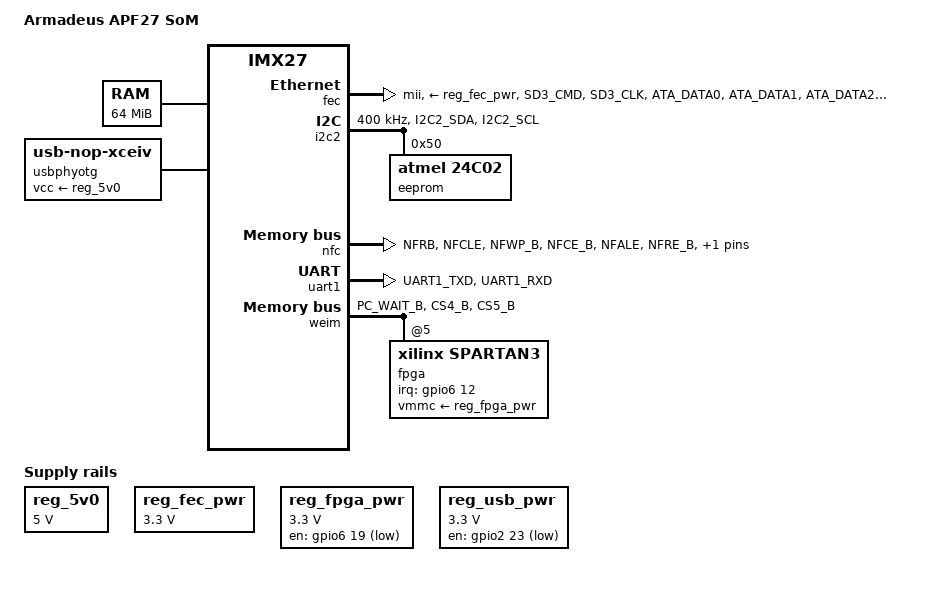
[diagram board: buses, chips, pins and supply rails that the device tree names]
/*
 * Copyright 2013 Armadeus Systems - <support@armadeus.com>
 * Copyright 2016 Julien Corjon <corjon.j@ecagroup.com>
 *
 * The code contained herein is licensed under the GNU General Public
 * License. You may obtain a copy of the GNU General Public License
 * Version 2 or later at the following locations:
 *
 * http://www.opensource.org/licenses/gpl-license.html
 * http://www.gnu.org/copyleft/gpl.html
 */
#include "imx27.dtsi"
#include <dt-bindings/gpio/gpio.h>

/ {
	model = "Armadeus APF27 SoM";
	compatible = "armadeus,imx27-apf27", "fsl,imx27";

	chosen {
                bootargs = "console=ttymxc0,115200 ubi.mtd=rootfs root=ubi0:rootfs rootfstype=ubifs";
		stdout-path = &uart1;
        };

	clocks {
		osc26m {
			clock-frequency = <0>;	/* Override osc26m as we are not sure to have an external 26mHz clock */
		};
	};

	memory {
		reg = <0xa0000000 0x04000000>; /* 64MB - replace with 0x08000000 for 128MB */
	};

	regulators {
		compatible = "simple-bus";

		reg_5v0: regulator@1 {
			compatible = "regulator-fixed";
			reg = <1>;
			regulator-name = "5V0";
			regulator-min-microvolt = <5000000>;
			regulator-max-microvolt = <5000000>;
		};

		reg_fec_pwr: fec_pwr {
			compatible = "regulator-fixed";
			reg = <0>;
			regulator-name = "fec_pwr";
			regulator-min-microvolt = <3300000>;
			regulator-max-microvolt = <3300000>;
		};

		reg_fpga_pwr: fpga_pwr {
			compatible = "regulator-fixed";
			pinctrl-names = "default";
			pinctrl-0 = <&pinctrl_fpga_pwr>;
			regulator-name = "fpga_pwr";
			regulator-min-microvolt = <3300000>;
			regulator-max-microvolt = <3300000>;
			gpio = <&gpio6 19 GPIO_ACTIVE_HIGH>;
			regulator-always-on;
		};

		reg_usb_pwr: usb_pwr {
			compatible = "regulator-fixed";
			pinctrl-names = "default";
			pinctrl-0 = <&pinctrl_usb_pwr>;
			regulator-name = "usb_pwr";
			regulator-min-microvolt = <3300000>;
			regulator-max-microvolt = <3300000>;
			gpio = <&gpio2 23 GPIO_ACTIVE_HIGH>;
			regulator-always-on;
		};
        };

	usbphy {
		compatible = "simple-bus";

		/* Due to the lack of device-tree support for ISP1504 (phy-ulpi)
		 * We set up an usb-nop-xceiv to let the imx driver go on */
		usbphyotg: usbphy@0 {
			compatible = "usb-nop-xceiv";
			reg = <0>;
			vcc-supply = <&reg_5v0>;
			clocks = <&clks IMX27_CLK_DUMMY>;
			clock-names = "main_clk";
		};
	};
};

//&csi {
//	pinctrl-names = "default";
//	pinctrl-0 = <&pinctrl_csi>;
//	status = "disabled";
//};

&cspi1 {
	pinctrl-names = "default";
	pinctrl-0 = <&pinctrl_cspi1 &pinctrl_cspi1_cs>;
	fsl,spi-num-chipselects = <2>;
	cs-gpios = <&gpio4 28 GPIO_ACTIVE_HIGH>,			/* SPI1_SS0 - J1 Pin 11 */
		   <&gpio4 26 GPIO_ACTIVE_HIGH>;			/* SPI1_SS2 - J1 Pin 12 */
	status = "disabled";
};

&cspi2 {
	pinctrl-names = "default";
	pinctrl-0 = <&pinctrl_cspi2 &pinctrl_cspi2_cs>;
	fsl,spi-num-chipselects = <3>;
	cs-gpios = <&gpio4 21 GPIO_ACTIVE_HIGH>,			/* SPI2_SS0 - J1 Pin 8 */
		   <&gpio4 20 GPIO_ACTIVE_HIGH>,			/* SPI2_SS1 - J1 Pin 9 */
		   <&gpio4 19 GPIO_ACTIVE_HIGH>;			/* SPI2_SS2 - J1 Pin 10 */
	status = "disabled";
};

&fb {
	pinctrl-names = "default";
	pinctrl-0 = <&pinctrl_imxfb>;
	display = <&display>;
	status = "disabled";
};

&fec {
	pinctrl-names = "default";
	pinctrl-0 = <&pinctrl_fec>;
	phy-mode= "mii";
	phy-supply = <&reg_fec_pwr>;
	status = "okay";
};

&i2c1{
	pinctrl-names = "default";
	pinctrl-0 = <&pinctrl_i2c1>;
	status = "disabled";
};

&i2c2{
	pinctrl-names = "default";
	pinctrl-0 = <&pinctrl_i2c2>;
	clock-frequency = <400000>;
	status = "okay";

	eeprom@50 {
		compatible = "atmel,24c02";
		reg = <0x50>;
		pagesize = <8>;
	};
};

&iomuxc {
	imx27-apf27 {
		pinctrl_csi: csigrp {
			fsl,pins = <
				MX27_PAD_CSI_D6__CSI_D6			0x0 /* CSI_D6_UART5_TXD_2V5 - J1 Pin 38 */
				MX27_PAD_CSI_D7__CSI_D7			0x0 /* CSI_D7_UART5_RXD_2V5 - J1 Pin 39 */
				MX27_PAD_CSI_VSYNC__CSI_VSYNC		0x0 /* CSI_VSYNC_UART5_CTS_2V5 - J1 Pin 40 */
				MX27_PAD_CSI_HSYNC__CSI_HSYNC		0x0 /* CSI_HSYNC_UART5_RTS_2V5 - J1 Pin 41 */
				MX27_PAD_CSI_MCLK__CSI_MCLK		0x0 /* CSI_MCLK_2V5 - J1 Pin 42 */
				MX27_PAD_CSI_PIXCLK__CSI_PIXCLK		0x0 /* CSI_PIXCLK_2V5 - J1 Pin 43 */
				MX27_PAD_CSI_D5__CSI_D5			0x0 /* CSI_D2_UART6_CTS_2V5 - J1 Pin 83 */
				MX27_PAD_CSI_D4__CSI_D4			0x0 /* CSI_D5_2V5 - J1 Pin 80 */
				MX27_PAD_CSI_D3__CSI_D3			0x0 /* CSI_D3_UART6_RTS_2V5 - J1 Pin 82 */
				MX27_PAD_CSI_D2__CSI_D2			0x0 /* CSI_D1_UART6_RXD_2V5 - J1 Pin 84 */
				MX27_PAD_CSI_D1__CSI_D1			0x0 /* CSI_D0_UART6_TXD_2V5 - J1 Pin 85 */
				MX27_PAD_CSI_D0__CSI_D0			0x0 /* CSI_D4_2V5 - J1 Pin 81 */
			>;
		};

		pinctrl_cspi1: cspi1grp {
			fsl,pins = <
				MX27_PAD_CSPI1_SCLK__CSPI1_SCLK		0x0 /* SPI1_SCLK - Pin 109 */
				MX27_PAD_CSPI1_MISO__CSPI1_MISO		0x0 /* SPI1_MISO - Pin 110 */
				MX27_PAD_CSPI1_MOSI__CSPI1_MOSI		0x0 /* SPI1_MOSI - Pin 111 */
			>;
		};

		pinctrl_cspi1_cs: cspi1csgrp {
			fsl,pins = <
				MX27_PAD_CSPI1_SS0__GPIO4_28		0x0 /* SPI1_SS0 - J1 Pin 11 */
				MX27_PAD_CSPI1_SS2__GPIO4_26		0x0 /* SPI1_SS2 - J1 Pin 12 */
			>;
		};

		pinctrl_cspi2: cspi2grp {
			fsl,pins = <
				MX27_PAD_CSPI2_MOSI__CSPI2_MOSI		0x0 /* SPI2_MOSI - J1 Pin 112 */
				MX27_PAD_CSPI2_MISO__CSPI2_MISO		0x0 /* SPI2_MISO - J1 Pin 113 */
				MX27_PAD_CSPI2_SCLK__CSPI2_SCLK		0x0 /* SPI2_SCLK - J1 Pin 114 */
			>;
		};

		pinctrl_cspi2_cs: cspi2csgrp {
			fsl,pins = <
				MX27_PAD_CSPI2_SS0__GPIO4_21		0x0 /* SPI2_SS0 - J1 Pin 8 */
				MX27_PAD_CSPI2_SS1__GPIO4_20		0x0 /* SPI2_SS1 - J1 Pin 9 */
				MX27_PAD_CSPI2_SS2__GPIO4_19		0x0 /* SPI2_SS2 - J1 Pin 10 */
			>;
		};

		pinctrl_fec: fecgrp {
			fsl,pins = <
				MX27_PAD_SD3_CMD__FEC_TXD0 		0x0
				MX27_PAD_SD3_CLK__FEC_TXD1 		0x0
				MX27_PAD_ATA_DATA0__FEC_TXD2 		0x0
				MX27_PAD_ATA_DATA1__FEC_TXD3 		0x0
				MX27_PAD_ATA_DATA2__FEC_RX_ER 		0x0
				MX27_PAD_ATA_DATA3__FEC_RXD1 		0x0
				MX27_PAD_ATA_DATA4__FEC_RXD2 		0x0
				MX27_PAD_ATA_DATA5__FEC_RXD3 		0x0
				MX27_PAD_ATA_DATA6__FEC_MDIO 		0x0
				MX27_PAD_ATA_DATA7__FEC_MDC 		0x0
				MX27_PAD_ATA_DATA8__FEC_CRS 		0x0
				MX27_PAD_ATA_DATA9__FEC_TX_CLK 		0x0
				MX27_PAD_ATA_DATA10__FEC_RXD0 		0x0
				MX27_PAD_ATA_DATA11__FEC_RX_DV 		0x0
				MX27_PAD_ATA_DATA12__FEC_RX_CLK 	0x0
				MX27_PAD_ATA_DATA13__FEC_COL 		0x0
				MX27_PAD_ATA_DATA14__FEC_TX_ER 		0x0
				MX27_PAD_ATA_DATA15__FEC_TX_EN 		0x0
			>;
		};

		pinctrl_fpga: fpgagrp {
			fsl,pins = <
				MX27_PAD_PC_BVD2__GPIO6_11		0x0 /* FPGA_PRG */
				MX27_PAD_CLKO__CLKO			0x0 /* CLK0 */
				MX27_PAD_PC_BVD1__GPIO6_12		0x0 /* FPGA_INIT_B */
				MX27_PAD_IOIS16__GPIO6_9		0x0 /* FPGA_DONE */
				MX27_PAD_PC_RST__GPIO6_10		0x0 /* FPGA_SUSPEND */
				MX27_PAD_PC_POE__GPIO6_7		0x0 /* FPGA_RESET */
				MX27_PAD_CSPI1_RDY__GPIO4_25		0x0 /* DMA_REQ_B */
				MX27_PAD_CSPI1_SS1__GPIO4_27		0x0 /* DMA_GRANT_B */
			>;
		};

		pinctrl_fpga_pwr: fpgapwrgrp {
			fsl,pins = <
				MX27_PAD_PC_CD2_B__GPIO6_19		0x0 /* FPGA_SUPPLY_OFF */
			>;
		};

		pinctrl_imxfb: imxfbgrp {
			fsl,pins = <
				MX27_PAD_LD0__LD0			0x0 /* B0 - J1 Pin 66 */
				MX27_PAD_LD1__LD1			0x0 /* B1 - J1 Pin 65 */
				MX27_PAD_LD2__LD2			0x0 /* B2 - J1 Pin 64 */
				MX27_PAD_LD3__LD3			0x0 /* B3 - J1 Pin 63 */
				MX27_PAD_LD4__LD4			0x0 /* B4 - J1 Pin 62 */
				MX27_PAD_LD5__LD5			0x0 /* B5 - J1 Pin 61 */
				MX27_PAD_LD6__LD6			0x0 /* G0 - J1 Pin 72 */
				MX27_PAD_LD7__LD7			0x0 /* G1 - J1 Pin 71 */
				MX27_PAD_LD8__LD8			0x0 /* G2 - J1 Pin 70 */
				MX27_PAD_LD9__LD9			0x0 /* G3 - J1 Pin 69 */
				MX27_PAD_LD10__LD10			0x0 /* G4 - J1 Pin 68 */
				MX27_PAD_LD11__LD11			0x0 /* G5 - J1 Pin 67 */
				MX27_PAD_LD12__LD12			0x0 /* R0 - J1 Pin 78 */
				MX27_PAD_LD13__LD13			0x0 /* R1 - J1 Pin 77 */
				MX27_PAD_LD14__LD14			0x0 /* R2 - J1 Pin 76 */
				MX27_PAD_LD15__LD15			0x0 /* R3 - J1 Pin 75 */
				MX27_PAD_LD16__LD16			0x0 /* R4 - J1 Pin 74 */
				MX27_PAD_LD17__LD17			0x0 /* R5 - J1 Pin 73 */
				MX27_PAD_LSCLK__LSCLK			0x0 /* LCD_CLK_IN - J1 Pin 59 */
				MX27_PAD_OE_ACD__OE_ACD			0x0 /* OE_ACD - J1 Pin 58 */
				MX27_PAD_HSYNC__HSYNC			0x0 /* LCD_HSYNC - J1 Pin 55 */
				MX27_PAD_VSYNC__VSYNC			0x0 /* LCD_VSYNC - J1 Pin 56 */
				MX27_PAD_CONTRAST__CONTRAST		0x0
				MX27_PAD_PS__PS				0x0
				MX27_PAD_SPL_SPR__SPL_SPR		0x0
				MX27_PAD_REV__REV			0x0
				MX27_PAD_CLS__CLS 			0x0
			>;
		};

		pinctrl_i2c1: i2c1grp {
			fsl,pins = <
				MX27_PAD_I2C_DATA__I2C_DATA		0x0 /* I2C1_SDA - J1 Pin 104 */
				MX27_PAD_I2C_CLK__I2C_CLK		0x0 /* I2C1_SCK - J1 Pin 105 */
			>;
		};

		pinctrl_i2c2: i2c2grp {
			fsl,pins = <
				MX27_PAD_I2C2_SDA__I2C2_SDA		0x0 /* I2C2_SDA - J1 Pin 107 */
				MX27_PAD_I2C2_SCL__I2C2_SCL		0x0 /* I2C2_SCK - J1 Pin 108 */
			>;
		};

		pinctrl_nand: nandgrp {
			fsl,pins = <
				MX27_PAD_NFRB__NFRB			0x0
				MX27_PAD_NFCLE__NFCLE			0x0
				MX27_PAD_NFWP_B__NFWP_B			0x0
				MX27_PAD_NFCE_B__NFCE_B			0x0
				MX27_PAD_NFALE__NFALE			0x0
				MX27_PAD_NFRE_B__NFRE_B			0x0
				MX27_PAD_NFWE_B__NFWE_B			0x0
			>;
		};

		pinctrl_owire: owiregrp {
			fsl,pins = <
				MX27_PAD_RTCK__OWIRE			0x0 /* RTCK_OWIRE_2V8 - J1 Pin 106 */
			>;
		};

		pinctrl_pwm: pwmgrp {
			fsl,pins = <
				MX27_PAD_PWMO__PWMO 			0x0
			>;
		};

		pinctrl_sdhc1: sdhc1grp {
			fsl,pins = <
				MX27_PAD_SD1_CLK__SD1_CLK		0x0 /* SD1_CLK - J1 Pin 21 */
				MX27_PAD_SD1_CMD__SD1_CMD		0x0 /* SD1_CMD - J1 Pin 20 */
				MX27_PAD_SD1_D0__SD1_D0			0x0 /* SD1_D0 - J1 Pin 16 */
				MX27_PAD_SD1_D1__SD1_D1			0x0 /* SD1_D1 - J1 Pin 17 */
				MX27_PAD_SD1_D2__SD1_D2			0x0 /* SD1_D2 - J1 Pin 18 */
				MX27_PAD_SD1_D3__SD1_D3			0x0 /* SD1_D3 - J1 Pin 19 */
			>;
		};

		pinctrl_sdhc2: sdhc2grp {
			fsl,pins = <
				MX27_PAD_SD2_CLK__SD2_CLK		0x0 /* SD2_CLK_2V5 - J1 Pin 49 */
				MX27_PAD_SD2_CMD__SD2_CMD		0x0 /* SD2_CMD_2V5 - J1 Pin 48 */
				MX27_PAD_SD2_D0__SD2_D0			0x0 /* SD2_D0_2V5 - J1 Pin 44 */
				MX27_PAD_SD2_D1__SD2_D1			0x0 /* SD2_D1_2V5 - J1 Pin 45 */
				MX27_PAD_SD2_D2__SD2_D2			0x0 /* SD2_D2_2V5 - J1 Pin 46 */
				MX27_PAD_SD2_D3__SD2_D3			0x0 /* SD2_D3_2V5 - J1 Pin 47 */
			>;
		};

		pinctrl_ssi1: ssi1grp {
			fsl,pins = <
				MX27_PAD_SSI1_FS__SSI1_FS		0x0
				MX27_PAD_SSI1_RXDAT__SSI1_RXDAT		0x0
				MX27_PAD_SSI1_TXDAT__SSI1_TXDAT		0x0
				MX27_PAD_SSI1_CLK__SSI1_CLK		0x0
			>;
		};

		pinctrl_ssi2: ssi2grp {
			fsl,pins = <
				MX27_PAD_SSI2_FS__SSI2_FS		0x0
				MX27_PAD_SSI2_RXDAT__SSI2_RXDAT		0x0
				MX27_PAD_SSI2_TXDAT__SSI2_TXDAT		0x0
				MX27_PAD_SSI2_CLK__SSI2_CLK		0x0
			>;
		};

		pinctrl_ssi3: ssi3grp {
			fsl,pins = <
				MX27_PAD_SSI3_FS__SSI3_FS		0x0
				MX27_PAD_SSI3_RXDAT__SSI3_RXDAT		0x0
				MX27_PAD_SSI3_TXDAT__SSI3_TXDAT		0x0
				MX27_PAD_SSI3_CLK__SSI3_CLK		0x0
			>;
		};

		pinctrl_uart1: uart1grp {
			fsl,pins = <
				MX27_PAD_UART1_TXD__UART1_TXD 		0x0
				MX27_PAD_UART1_RXD__UART1_RXD 		0x0
			>;
		};

		pinctrl_uart2: uart2grp {
			fsl,pins = <
				MX27_PAD_UART2_TXD__UART2_TXD 		0x0
				MX27_PAD_UART2_RXD__UART2_RXD 		0x0
				MX27_PAD_UART2_CTS__UART2_CTS		0x0
				MX27_PAD_UART2_RTS__UART2_RTS		0x0
			>;
		};

		pinctrl_uart3: uart3grp {
			fsl,pins = <
				MX27_PAD_UART3_TXD__UART3_TXD		0x0 /* RS232_TX3 - J2 Pin 105 */
				MX27_PAD_UART3_RXD__UART3_RXD		0x0 /* RS232_RX3 - J2 Pin 104 */
				MX27_PAD_UART3_CTS__UART3_CTS		0x0 /* RS232_CTS_3 - J1 Pin 24 */
				MX27_PAD_UART3_RTS__UART3_RTS		0x0 /* RS232_RTS_3 - J1 Pin 25 */
			>;
		};

		pinctrl_usbh1: usbh1grp {
			fsl,pins = <
				MX27_PAD_USBH1_OE_B__USBH1_OE_B		0x0 /* USB1_OEN - J1 Pin 118 */
				MX27_PAD_USBH1_RCV__USBH1_RCV		0x0 /* USB1_RCV - J1 Pin 119 */
				MX27_PAD_USBH1_SUSP__USBH1_SUSP		0x0 /* USB1_SUSPEND - J1 Pin 3 */
				MX27_PAD_USBH1_TXDP__USBH1_TXDP		0x0 /* USB1_TXDP - J1 Pin 117 */
				MX27_PAD_USBH1_RXDP__USBH1_RXDP		0x0 /* USB1_RXDP - J1 Pin 116 */
				MX27_PAD_USBH1_TXDM__USBH1_TXDM		0x0 /* USB1_TXDN - J1 Pin 6 */
				MX27_PAD_USBH1_RXDM__USBH1_RXDM		0x0 /* USB1_RXDN - J1 Pin 7 */
				MX27_PAD_USBH1_FS__USBH1_FS		0x0 /* USB1_FS - J1 Pin 5 */
			>;
		};

		pinctrl_usb_pwr: usb-pwr {
			fsl,pins = <
				MX27_PAD_USB_PWR__USB_PWR		0x0 /* USB1_PWR - J1 Pin 4 */
			>;
		};

		pinctrl_usbh2: usbh2grp {
			fsl,pins = <
				MX27_PAD_USBH2_CLK__USBH2_CLK		0x0
				MX27_PAD_USBH2_DIR__USBH2_DIR		0x0
				MX27_PAD_USBH2_DATA7__USBH2_DATA7	0x0
				MX27_PAD_USBH2_NXT__USBH2_NXT		0x0
				MX27_PAD_USBH2_STP__USBH2_STP		0x0
			>;
		};

		pinctrl_usbotg: usbotggrp {
			fsl,pins = <
				MX27_PAD_USBOTG_CLK__USBOTG_CLK		0x0
				MX27_PAD_USBOTG_DIR__USBOTG_DIR		0x0
				MX27_PAD_USBOTG_NXT__USBOTG_NXT		0x0
				MX27_PAD_USBOTG_STP__USBOTG_STP		0x0
				MX27_PAD_USBOTG_DATA0__USBOTG_DATA0	0x0
				MX27_PAD_USBOTG_DATA1__USBOTG_DATA1	0x0
				MX27_PAD_USBOTG_DATA2__USBOTG_DATA2	0x0
				MX27_PAD_USBOTG_DATA3__USBOTG_DATA3	0x0
				MX27_PAD_USBOTG_DATA4__USBOTG_DATA4	0x0
				MX27_PAD_USBOTG_DATA5__USBOTG_DATA5	0x0
				MX27_PAD_USBOTG_DATA6__USBOTG_DATA6	0x0
				MX27_PAD_USBOTG_DATA7__USBOTG_DATA7	0x0
			>;
		};

		pinctrl_weim: weimgrp {
			fsl,pins = <
				MX27_PAD_PC_WAIT_B__ATA_CS1		0x0
				MX27_PAD_CS4_B__CS4_B			0x0
				MX27_PAD_CS5_B__CS5_B			0x0
//				EB0					0x0
//				EB1					0x0
//				OE					0x0
			>;
		};
	};
};

&kpp {
	status = "disabled";
};

&nfc {
	pinctrl-names = "default";
	pinctrl-0 = <&pinctrl_nand>;
	nand-ecc-mode = "hw";
	nand-on-flash-bbt;
	nand-bus-width = <16>;
	status = "okay";

	partition@0 {
		label = "u-boot";
		reg = <0x0 0x100000>;
	};

	partition@100000 {
		label = "env";
		reg = <0x100000 0x80000>;
	};

	partition@180000 {
		label = "env2";
		reg = <0x180000 0x80000>;
	};

	partition@200000 {
		label = "firmware";
		reg = <0x200000 0x80000>;
	};

	partition@280000 {
		label = "dtb";
		reg = <0x280000 0x80000>;
	};

	partition@300000 {
		label = "kernel";
		reg = <0x300000 0x500000>;
	};

	partition@800000 {
		label = "rootfs";
		reg = <0x800000 0xf800000>;
	};
};

&owire{
	pinctrl-names = "default";
	pinctrl-0 = <&pinctrl_owire>;
	status = "disabled";
};

&pwm {
	pinctrl-names = "default";
	pinctrl-0 = <&pinctrl_pwm>;
	status = "disabled";
};

&sdhci1 {
	pinctrl-names = "default";
	pinctrl-0 = <&pinctrl_sdhc1>;
	bus-width = <4>;
	status = "disabled";
};

&sdhci2 {
	pinctrl-names = "default";
	pinctrl-0 = <&pinctrl_sdhc2>;
	bus-width = <4>;
	status = "disabled";
};

&ssi1{
	pinctrl-names = "default";
	pinctrl-0 = <&pinctrl_ssi1>;
	status = "disabled";
};

&ssi2{
	pinctrl-names = "default";
	pinctrl-0 = <&pinctrl_ssi2>;
	status = "disabled";
};

//&ssi3{
//	pinctrl-names = "default";
//	pinctrl-0 = <&pinctrl_ssi3>;
//	status = "disabled";
//};

&uart1 {
	pinctrl-names = "default";
	pinctrl-0 = <&pinctrl_uart1>;
	status = "okay";
};

&uart2 {
	pinctrl-names = "default";
	pinctrl-0 = <&pinctrl_uart2>;
	status = "disabled";
};

&uart3 {
	pinctrl-names = "default";
	pinctrl-0 = <&pinctrl_uart3>;
	status = "disabled";
};

&usbh1 {
	pinctrl-names = "default";
	pinctrl-0 = <&pinctrl_usbh1>;
	vbus-supply = <&reg_usb_pwr>;
	status = "disabled";
};

&usbh2 {
	pinctrl-names = "default";
	pinctrl-0 = <&pinctrl_usbh2>;
	status = "disabled";
};

&usbotg {
	pinctrl-names = "default";
	pinctrl-0 = <&pinctrl_usbotg>;
	dr_mode = "otg";
	phy_type = "ulpi";
	vbus-supply = <&reg_5v0>;
	fsl,usbphy = <&usbphyotg>;
	disable-over-current;
	status = "disabled";
};

&weim {
	pinctrl-names = "default";
	pinctrl-0 = <&pinctrl_weim>;
	status = "okay";

	fpga: fpga@5,0 {
		pinctrl-names = "default";
		pinctrl-0 = <&pinctrl_fpga>;
		compatible = "xilinx,spartan3";
		reg = <5 0x00000000 0x00002000>;
		interrupt-parent = <&gpio6>;
		interrupts = <12 IRQ_TYPE_EDGE_FALLING>;
		fsl,weim-cs-timing = <0x00000600 0x00000D01 0x00000000>;
		vmmc-supply = <&reg_fpga_pwr>;
	};
};
